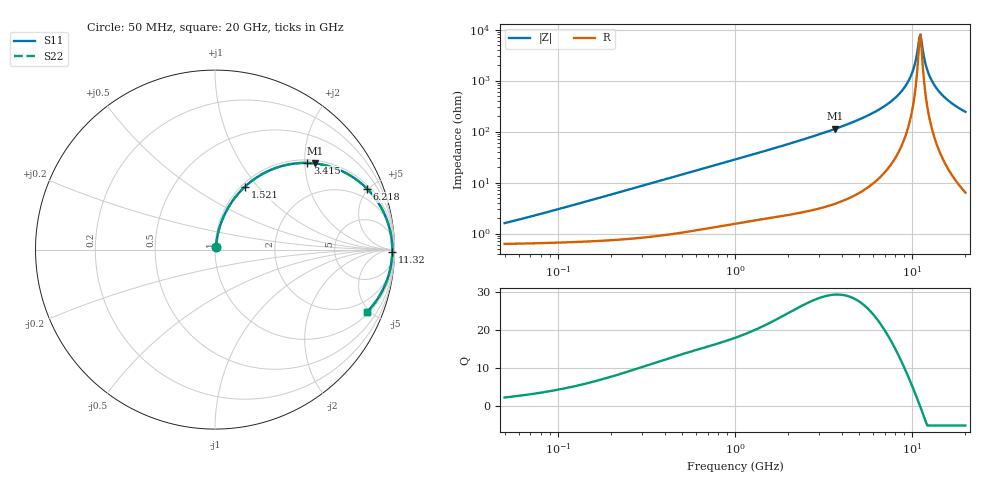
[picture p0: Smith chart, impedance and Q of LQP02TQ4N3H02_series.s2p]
!Murata Part Number: LQP02TQ4N3H02
!These Parameters are Measured in Series Mode Connection
!  o--[Z]--o
!Port1  Port2
!  o-------o
!Freq. Start=50[MHz] Stop=20[GHz], 401[Steps]
# Hz S RI R 50
!Freq.(Hz) S11(Real) S11(Imag) S21(Real) S21(Imag) S12(Real) S12(Imag) S22(Real) S22(Imag)
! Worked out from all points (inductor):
!   401 points, 50 MHz to 20 GHz, reference 50 ohm
!   read as one part in series: L = 4.66 nH near 65.47 MHz
!   highest Q = 29.4 at 3.681 GHz (marker M1), where L = 4.88 nH
!   self-resonance near 10.99 GHz
!   S11 on the Smith chart (normalised r, x): 50 MHz: 1.01, +0.03; 1.521 GHz: 1.04, +0.86; 3.415 GHz: 1.07, +2.06; 6.218 GHz: 1.21, +4.93; 11.32 GHz: open; 20 GHz: 1.13, -4.86
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5e7  0.00643 0.0146  0.9936 -0.0146  0.9936 -0.0146  0.00643 0.0146
1.364002e8  0.00839 0.039  0.9916 -0.039  0.9916 -0.039  0.00839 0.039
3.721004e8  0.0199 0.1036  0.9801 -0.1036  0.9801 -0.1036  0.0199 0.1036
1e9  0.0858 0.2536  0.9142 -0.2536  0.9142 -0.2536  0.0858 0.2536
1.521052e9  0.1666 0.3503  0.8334 -0.3503  0.8334 -0.3503  0.1666 0.3503
2.728004e9  0.3915 0.4704  0.6085 -0.4704  0.6085 -0.4704  0.3915 0.4704
3.415248e9  0.515 0.483  0.485 -0.483  0.485 -0.483  0.515 0.483
3.680849e9  0.5589 0.4798  0.4411 -0.4798  0.4411 -0.4798  0.5589 0.4798
6.217679e9  0.8486 0.3378  0.1514 -0.3378  0.1514 -0.3378  0.8486 0.3378
7.442007e9  0.9193 0.246  0.0807 -0.246  0.0807 -0.246  0.9193 0.246
8.516016e9  0.9569 0.1677  0.0431 -0.1677  0.0431 -0.1677  0.9569 0.1677
9.457416e9  0.9761 0.103  0.0239 -0.103  0.0239 -0.103  0.9761 0.103
1.019291e10  0.9843 0.0555  0.0157 -0.0555  0.0157 -0.0555  0.9843 0.0555
1.098561e10  0.9877 0.00739  0.0123 -0.00739  0.0123 -0.00739  0.9877 0.00739
1.115139e10  0.9879 -0.00226  0.0121 0.00226  0.0121 0.00226  0.9879 -0.00226
1.131968e10  0.9878 -0.0119  0.0122 0.0119  0.0122 0.0119  0.9878 -0.0119
1.183995e10  0.9864 -0.0408  0.0136 0.0408  0.0136 0.0408  0.9864 -0.0408
1.220001e10  0.9846 -0.0601  0.0154 0.0601  0.0154 0.0601  0.9846 -0.0601
1.276073e10  0.9804 -0.0888  0.0196 0.0888  0.0196 0.0888  0.9804 -0.0888
1.354865e10  0.9721 -0.1266  0.0279 0.1266  0.0279 0.1266  0.9721 -0.1266
1.597544e10  0.9342 -0.2264  0.0658 0.2264  0.0658 0.2264  0.9342 -0.2264
2e10  0.8491 -0.3451  0.1509 0.3451  0.1509 0.3451  0.8491 -0.3451
